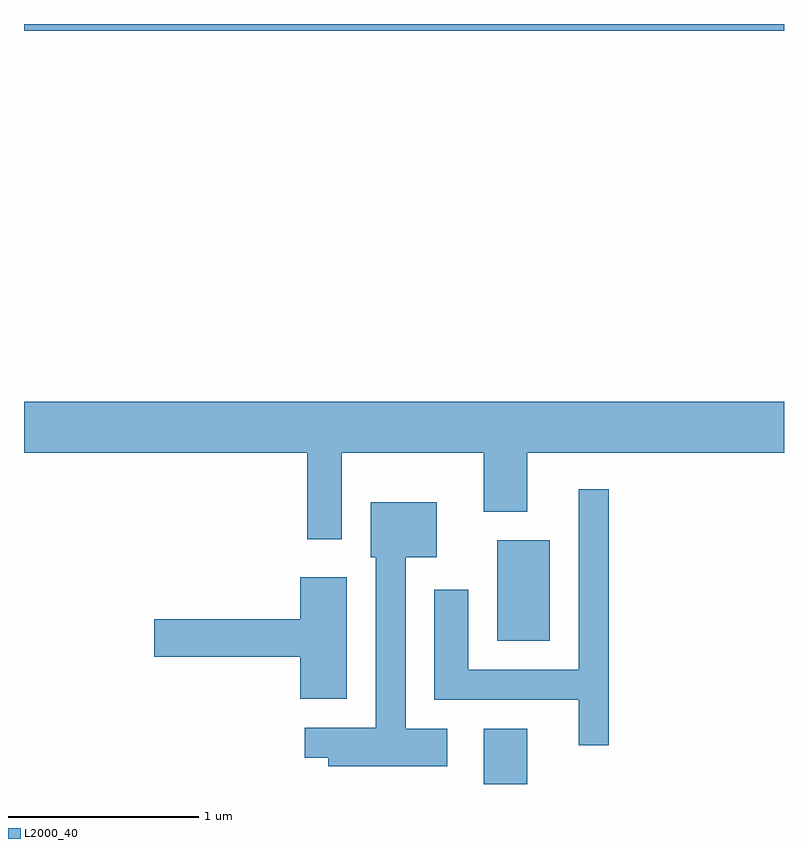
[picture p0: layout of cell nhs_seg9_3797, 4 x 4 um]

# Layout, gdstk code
import gdstk
lib = gdstk.Library(unit=1e-6, precision=1e-09)
def R(c, l, rs):  # rectangles x0, y0, x1, y1
    for r in rs: c.add(gdstk.rectangle(r[:2], r[2:], *l))
def P(c, l, *ps):  # polygons
    for p in ps: c.add(gdstk.Polygon(p, *l))
L2000_40 = (2000, 40)

nhs_seg9_3797 = lib.new_cell('nhs_seg9_3797')
R(nhs_seg9_3797, L2000_40, [(298.031,2074.432,298.259,2074.724), (298.101,2075.186,298.379,2075.714), (295.611,2078.396,299.611,2078.432)])
P(nhs_seg9_3797, L2000_40, [(297.284,2076.176),(298.031,2076.176),(298.031,2075.866),(298.259,2075.866),(298.259,2076.176),(299.611,2076.176),(299.611,2076.444),(295.611,2076.444),(295.611,2076.176),(297.101,2076.176),(297.101,2075.721),(297.284,2075.721)],
  [(298.689,2075.983),(298.531,2075.983),(298.531,2075.034),(297.949,2075.034),(297.949,2075.454),(297.771,2075.454),(297.771,2074.876),(298.531,2074.876),(298.531,2074.637),(298.689,2074.637)],
  [(297.839,2074.724),(297.619,2074.724),(297.619,2075.626),(297.784,2075.626),(297.784,2075.914),(297.436,2075.914),(297.436,2075.626),(297.461,2075.626),(297.461,2074.729),(297.088,2074.729),(297.088,2074.571),(297.211,2074.571),(297.211,2074.526),(297.839,2074.526)],
  [(297.309,2075.519),(297.066,2075.519),(297.066,2075.299),(296.296,2075.299),(296.296,2075.101),(297.066,2075.101),(297.066,2074.881),(297.309,2074.881)])

lib.write_gds('nhs_seg9_3797.gds')
